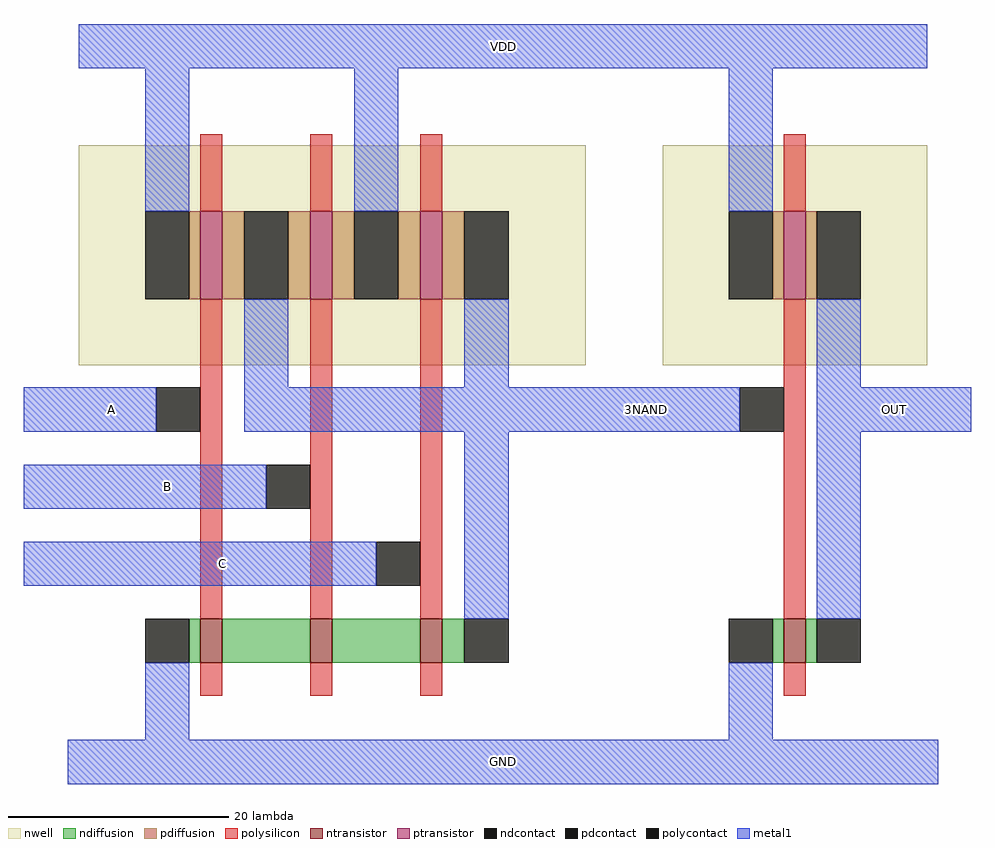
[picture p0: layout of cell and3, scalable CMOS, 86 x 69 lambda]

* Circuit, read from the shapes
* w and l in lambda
.subckt and3 3NAND A B C GND OUT VDD
M1 n1 A GND VSUBS nfet w=4 l=2
M2 n2 B n1 VSUBS nfet w=4 l=2
M3 3NAND C n2 VSUBS nfet w=4 l=2
M4 OUT 3NAND GND VSUBS nfet w=4 l=2
M5 3NAND A VDD n3 pfet w=8 l=2
M6 VDD B 3NAND n3 pfet w=8 l=2
M7 3NAND C VDD n3 pfet w=8 l=2
M8 OUT 3NAND VDD n4 pfet w=8 l=2
.ends

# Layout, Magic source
magic
tech scmos
<< nwell >>
rect 0 -1 46 19
rect 53 -1 77 19
<< ntransistor >>
rect 11 -28 13 -24
rect 21 -28 23 -24
rect 31 -28 33 -24
rect 64 -28 66 -24
<< ptransistor >>
rect 11 5 13 13
rect 21 5 23 13
rect 31 5 33 13
rect 64 5 66 13
<< ndiffusion >>
rect 10 -28 11 -24
rect 13 -28 21 -24
rect 23 -28 31 -24
rect 33 -28 35 -24
rect 63 -28 64 -24
rect 66 -28 67 -24
<< pdiffusion >>
rect 10 5 11 13
rect 13 5 15 13
rect 19 5 21 13
rect 23 5 25 13
rect 29 5 31 13
rect 33 5 35 13
rect 63 5 64 13
rect 66 5 67 13
<< ndcontact >>
rect 6 -28 10 -24
rect 35 -28 39 -24
rect 59 -28 63 -24
rect 67 -28 71 -24
<< pdcontact >>
rect 6 5 10 13
rect 15 5 19 13
rect 25 5 29 13
rect 35 5 39 13
rect 59 5 63 13
rect 67 5 71 13
<< polysilicon >>
rect 11 13 13 20
rect 21 13 23 20
rect 31 13 33 20
rect 64 13 66 20
rect 11 -24 13 5
rect 21 -24 23 5
rect 31 -24 33 5
rect 64 -24 66 5
rect 11 -31 13 -28
rect 21 -31 23 -28
rect 31 -31 33 -28
rect 64 -31 66 -28
<< polycontact >>
rect 7 -7 11 -3
rect 17 -14 21 -10
rect 27 -21 31 -17
rect 60 -7 64 -3
<< metal1 >>
rect 0 26 77 30
rect 6 13 10 26
rect 25 13 29 26
rect 59 13 63 26
rect 15 -3 19 5
rect 35 -3 39 5
rect 67 -3 71 5
rect -5 -7 7 -3
rect 15 -7 60 -3
rect 67 -7 81 -3
rect -5 -14 17 -10
rect -5 -21 27 -17
rect 35 -24 39 -7
rect 67 -24 71 -7
rect 6 -35 10 -28
rect 59 -35 63 -28
rect -1 -39 78 -35
<< labels >>
rlabel metal1 -5 -7 11 -3 1 A
rlabel metal1 67 -7 81 -3 1 OUT
rlabel metal1 -5 -14 21 -10 1 B
rlabel metal1 0 26 77 30 5 VDD
rlabel metal1 -1 -39 78 -35 1 GND
rlabel metal1 -5 -21 31 -17 1 C
rlabel metal1 39 -7 64 -3 1 3NAND
<< end >>
